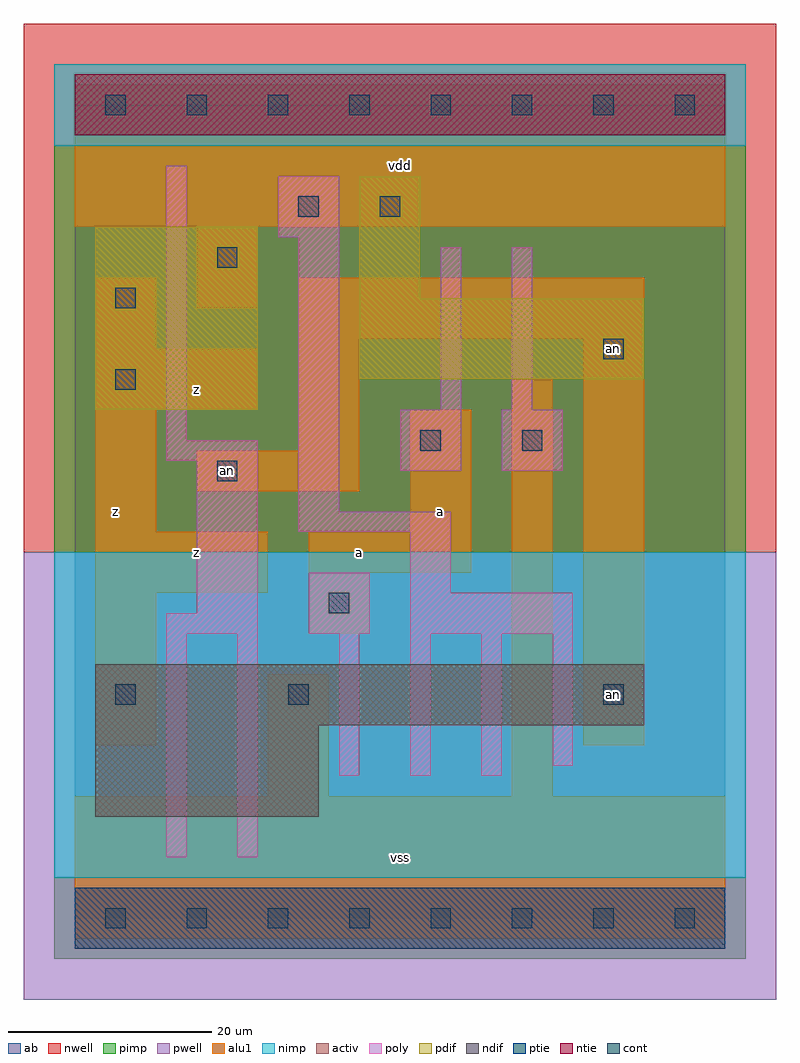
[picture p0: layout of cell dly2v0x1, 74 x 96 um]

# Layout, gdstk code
import gdstk
lib = gdstk.Library(unit=1e-6, precision=1e-09)
def R(c, l, rs):  # rectangles x0, y0, x1, y1
    for r in rs: c.add(gdstk.rectangle(r[:2], r[2:], *l))
def A(c, l, x, y, w, h, nx, ny, dx, dy):  # array of equal rectangles
    R(c, l, [(x+i*dx, y+j*dy, x+i*dx+w, y+j*dy+h) for i in range(nx) for j in range(ny)])
ndif = (3, 0)
pdif = (4, 0)
ntie = (5, 0)
ptie = (6, 0)
cont = (25, 0)
pwell = (41, 0)
nwell = (42, 0)
activ = (43, 0)
pimp = (44, 0)
nimp = (45, 0)
poly = (46, 0)
alu1 = (49, 0)
ab = (63, 0)

dly2v0x1 = lib.new_cell('dly2v0x1')
R(dly2v0x1, ndif, [(2,10,24,19), (2,19,56,25)])
R(dly2v0x1, pdif, [(2,50,18,68), (28,53,56,61), (28,61,34,73)])
R(dly2v0x1, ntie, [(0,77,64,83)])
R(dly2v0x1, ptie, [(0,-3,64,3)])
A(dly2v0x1, cont, 3, -1, 2, 2, 8, 2, 8, 80)
R(dly2v0x1, cont, [(4,21,6,23), (21,21,23,23), (52,21,54,23), (25,30,27,32), (14,43,16,45), (34,46,36,48), (44,46,46,48), (4,52,6,54), (52,55,54,57), (4,60,6,62), (14,64,16,66), (22,69,24,71), (30,69,32,71)])
R(dly2v0x1, pwell, [(-5,-8,69,36)])
R(dly2v0x1, nwell, [(-5,36,69,88)])
R(dly2v0x1, activ, [(0,-3,64,3), (2,10,24,19), (2,19,56,25), (2,50,18,68), (28,53,56,61), (28,61,34,73), (0,77,64,83)])
R(dly2v0x1, pimp, [(-2,-4,66,4), (-2,36,66,76)])
R(dly2v0x1, nimp, [(-2,4,66,36), (-2,76,66,84)])
A(dly2v0x1, poly, 26, 14, 2, 14, 3, 1, 7, 0)
R(dly2v0x1, poly, [(9,6,11,28), (16,6,18,28), (47,15,49,28), (9,28,18,30), (23,28,29,34), (33,28,49,32), (12,30,18,45), (33,32,37,38), (22,38,37,40), (22,40,26,67), (32,44,38,50), (42,44,48,50), (9,45,18,47), (9,47,11,74), (36,50,38,66), (43,50,45,66), (20,67,26,73)])
R(dly2v0x1, alu1, [(0,-2,64,12), (19,12,25,24), (43,12,47,53), (2,17,8,32), (50,17,56,57), (23,28,29,34), (2,32,19,38), (23,34,39,38), (2,38,8,50), (33,38,39,50), (12,42,28,46), (22,46,28,57), (2,50,18,56), (2,56,8,63), (22,57,56,63), (12,60,18,68), (0,68,64,82)])
R(dly2v0x1, ab, [(0,0,64,80)])
dly2v0x1.add(gdstk.Label('an', (15,44), layer=49, texttype=0))
dly2v0x1.add(gdstk.Label('an', (53,22), layer=49, texttype=0))
dly2v0x1.add(gdstk.Label('an', (53,56), layer=49, texttype=0))
dly2v0x1.add(gdstk.Label('z', (12,36), layer=49, texttype=0))
dly2v0x1.add(gdstk.Label('z', (4,40), layer=49, texttype=0))
dly2v0x1.add(gdstk.Label('z', (12,52), layer=49, texttype=0))
dly2v0x1.add(gdstk.Label('a', (28,36), layer=49, texttype=0))
dly2v0x1.add(gdstk.Label('vss', (32,6), layer=49, texttype=0))
dly2v0x1.add(gdstk.Label('a', (36,40), layer=49, texttype=0))
dly2v0x1.add(gdstk.Label('vdd', (32,74), layer=49, texttype=0))

lib.write_gds('dly2v0x1.gds')
